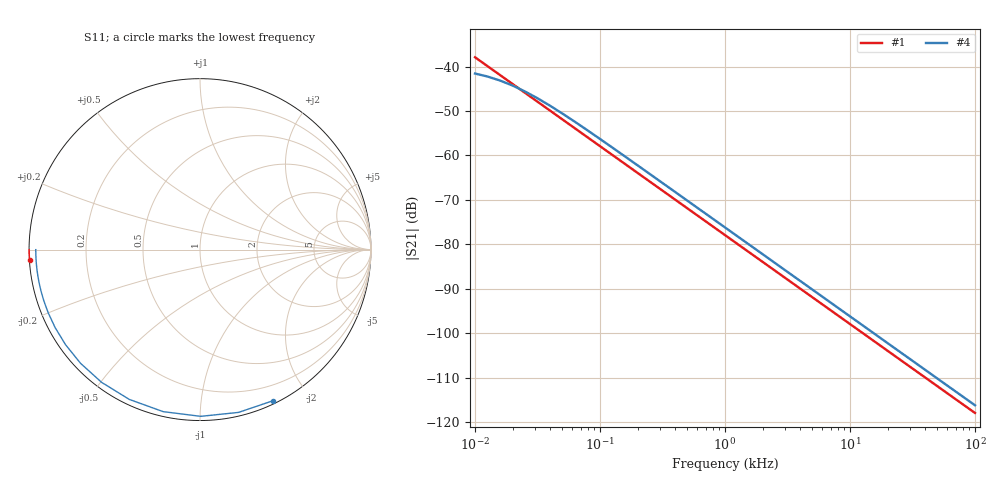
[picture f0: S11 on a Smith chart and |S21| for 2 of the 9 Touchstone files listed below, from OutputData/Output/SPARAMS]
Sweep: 10 Hz to 100 kHz
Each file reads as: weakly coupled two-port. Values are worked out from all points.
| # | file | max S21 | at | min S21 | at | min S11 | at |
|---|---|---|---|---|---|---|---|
| 1 | sparams-ts1-dataFormat.cir.db.s2p | -37.91 dB | 10 Hz | -117.9 dB | 100 kHz | 0.0 dB | 10 Hz |
| 2 | sparams-ts1-dataFormat.cir.ma.s2p | -37.91 dB | 10 Hz | -117.9 dB | 100 kHz | 0.0 dB | 10 Hz |
| 3 | sparams-ts1-dataFormat.cir.ri.s2p | -37.91 dB | 10 Hz | -117.9 dB | 100 kHz | 0.0 dB | 10 Hz |
| 4 | yparams-ts1-2port.cir.db.s2p | -41.57 dB | 10 Hz | -116.2 dB | 100 kHz | -0.3 dB | 100 kHz |
| 5 | yparams-ts1-2port.cir.ma.s2p | -41.57 dB | 10 Hz | -116.2 dB | 100 kHz | -0.3 dB | 100 kHz |
| 6 | yparams-ts1-2port.cir.s2p | -41.57 dB | 10 Hz | -116.2 dB | 100 kHz | -0.3 dB | 100 kHz |
| 7 | zparams-ts1-2port.cir.db.s2p | -41.57 dB | 10 Hz | -116.2 dB | 100 kHz | -0.3 dB | 100 kHz |
| 8 | zparams-ts1-2port.cir.ma.s2p | -41.57 dB | 10 Hz | -116.2 dB | 100 kHz | -0.3 dB | 100 kHz |
| 9 | zparams-ts1-2port.cir.s2p | -41.57 dB | 10 Hz | -116.2 dB | 100 kHz | -0.3 dB | 100 kHz |
